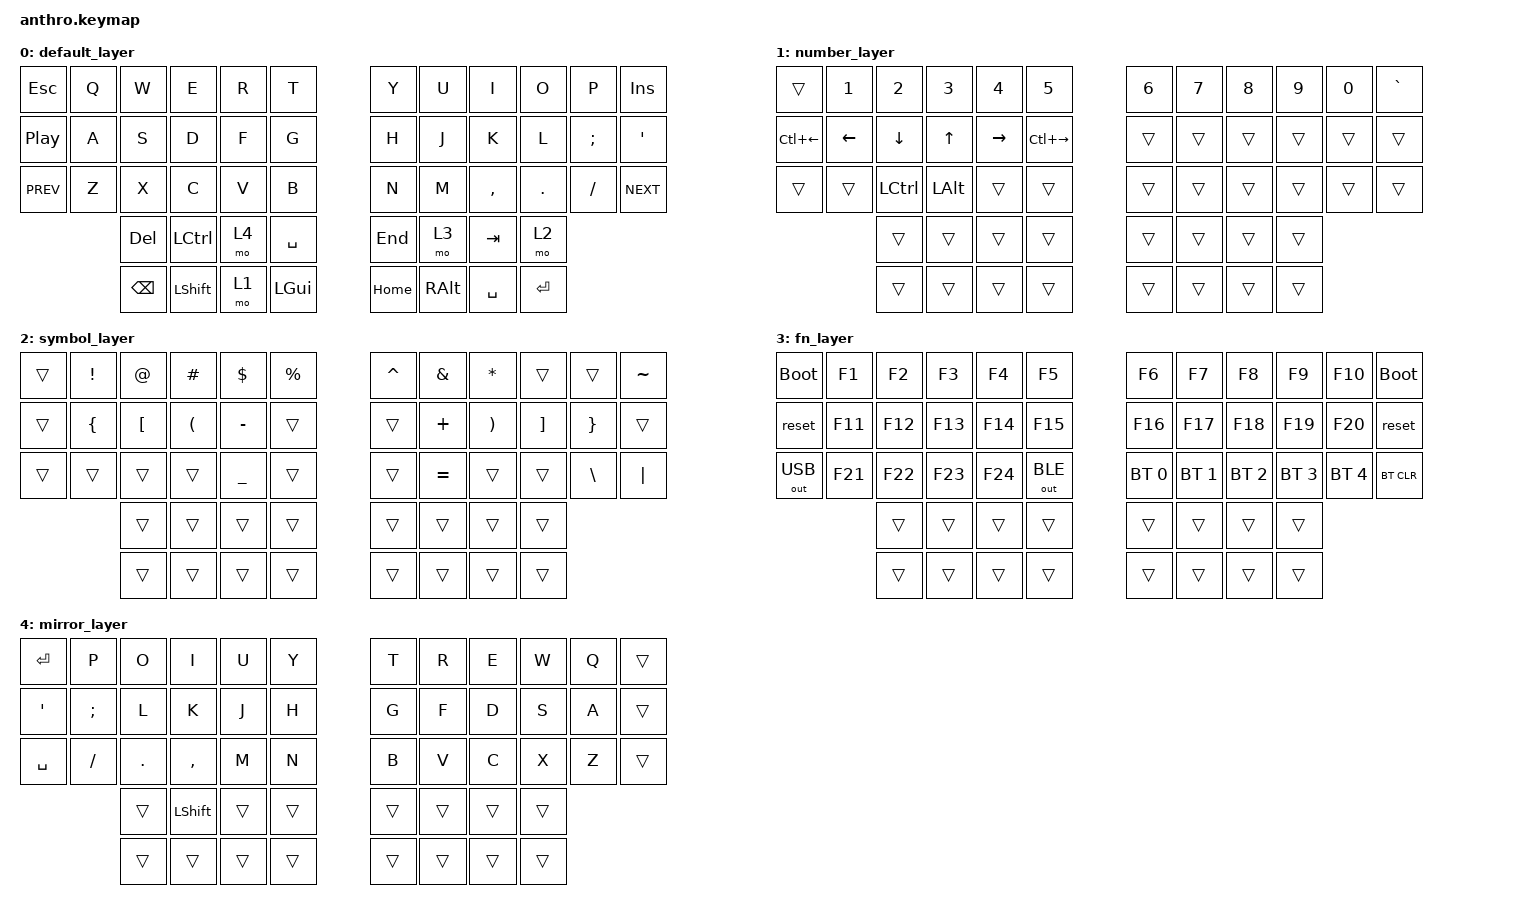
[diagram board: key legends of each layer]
/*
 * Copyright (c) 2020 The ZMK Contributors
 *
 * SPDX-License-Identifier: MIT
 */

#include <behaviors.dtsi>
#include <dt-bindings/zmk/keys.h>
#include <dt-bindings/zmk/bt.h>
#include <dt-bindings/zmk/outputs.h>

#define SEL BT_SEL

/ {
        keymap {
                compatible = "zmk,keymap";

                default_layer { // 0
/* -------------------------------------------------------------         ------------------------------------------------------------- */
/* |   ESC   |    Q    |    W    |    E    |    R    |    T    |         |    Y    |    U    |    I    |    O    |    P    | INSERT  | */
/* |  PAUSE  |    A    |    S    |    D    |    F    |    G    |         |    H    |    J    |    K    |    L    |    ;    |    '    | */
/* |  PREV   |    Z    |    X    |    C    |    V    |    B    |         |    N    |    M    |    ,    |    .    |    /    |  NEXT   | */
                        /* |   DEL   | NUMBERS | MIRROR  |  SPACE  | |   END   |   FN    |   TAB   | SYMBOLS | */
                        /* |  BKSP   |  SHIFT  | CONTROL |   GUI   | |  HOME   |   ALT   |  SPACE  |  ENTER  | */
                        bindings = < 
    &kp ESC   &kp Q     &kp W     &kp E     &kp R     &kp T               &kp Y     &kp U     &kp I     &kp O     &kp P     &kp INS  
    &kp C_PP  &kp A     &kp S     &kp D     &kp F     &kp G               &kp H     &kp J     &kp K     &kp L     &kp SEMI  &kp SQT  
   &kp C_PREV &kp Z     &kp X     &kp C     &kp V     &kp B               &kp N     &kp M     &kp COMMA &kp DOT   &kp FSLH  &kp C_NEXT
                            &kp DEL   &kp LCTRL &mo 4     &kp SPACE   &kp END   &mo 3     &kp TAB   &mo 2    
                            &kp BSPC  &kp LSHFT &mo 1     &kp LGUI    &kp HOME  &kp RALT  &kp SPACE &kp RET  
                        >;
                };

                

                number_layer { // 1
/* -------------------------------------------------------------         ------------------------------------------------------------- */
/* |         |    1    |    2    |    3    |    4    |    5    |         |    6    |    7    |    8    |    9    |    0    |    `    | */
/* | C_LEFT  |  LEFT   |  DOWN   |   UP    |  RIGHT  | C_RIGHT |         |         |         |         |         |         |         | */
/* |         |         |         |         |         |         |         |         |         |         |         |         |         | */
                        /* |         |         |         |         | |         |         |         |         | */
                        /* |         |         |         |         | |         |         |         |         | */
                        bindings = <
    &trans    &kp N1    &kp N2    &kp N3    &kp N4    &kp N5              &kp N6    &kp N7    &kp N8    &kp N9    &kp N0    &kp GRAVE
 &kp LC(LEFT) &kp LEFT  &kp DOWN  &kp UP    &kp RIGHT &kp LC(RIGHT)       &trans    &trans    &trans    &trans    &trans    &trans   
    &trans    &trans    &kp LCTRL &kp LALT  &trans    &trans              &trans    &trans    &trans    &trans    &trans    &trans   
                            &trans    &trans    &trans    &trans      &trans    &trans    &trans    &trans   
                            &trans    &trans    &trans    &trans      &trans    &trans    &trans    &trans   
                        >; 
                };

                symbol_layer { // 2
/* -------------------------------------------------------------         ------------------------------------------------------------- */
/* |         |    !    |    @    |    #    |    $    |    %    |         |    ^    |    &    |    *    |         |         |    ~    | */
/* |         |    {    |    [    |    (    |    -    |         |         |         |    +    |    )    |    ]    |    }    |         | */
/* |         |         |         |         |    _    |         |         |         |    =    |         |         |    \    |   "|"   | */
                        /* |         |         |         |         | |         |         |         |         | */
                        /* |         |         |         |         | |         |         |         |         | */
                        bindings = <
    &trans    &kp EXCL  &kp AT    &kp HASH  &kp DLLR  &kp PRCNT           &kp CARET &kp AMPS  &kp ASTRK &trans    &trans    &kp TILDE
    &trans    &kp LBRC  &kp LBKT  &kp LPAR  &kp MINUS &trans              &trans    &kp PLUS  &kp RPAR  &kp RBKT  &kp RBRC  &trans   
    &trans    &trans    &trans    &trans    &kp UNDER &trans              &trans    &kp EQUAL &trans    &trans    &kp BSLH  &kp PIPE 
                            &trans    &trans    &trans    &trans      &trans    &trans    &trans    &trans   
                            &trans    &trans    &trans    &trans      &trans    &trans    &trans    &trans   
                        >;
                };

                fn_layer { // 3
/* -------------------------------------------------------------         -------------------------------------------------------------- */
/* |BOOTLOAD |   F1    |   F2    |   F3    |   F4    |   F5    |         |   F6    |   F7    |   F8    |   F9    |   F10   |BOOTLOAD | */
/* |  RESET  |   F11   |   F12   |   F13   |   F14   |   F15   |         |   F16   |   F17   |   F18   |   F19   |   F20   |  RESET  | */
/* | OUTPUT  |   F21   |   F22   |   F23   |   F24   |         |         |   BT0   |   BT1   |   BT2   |   BT3   |   BT4   | BT_CLR  | */
                        /* |         |         |         |         | |         |         |         |         | */
                        /* |         |         |         |         | |         |         |         |         | */
                        bindings = <
  &bootloader &kp F1    &kp F2    &kp F3    &kp F4    &kp F5              &kp F6    &kp F7    &kp F8    &kp F9    &kp F10   &bootloader
    &reset    &kp F11   &kp F12   &kp F13   &kp F14   &kp F15             &kp F16   &kp F17   &kp F18   &kp F19   &kp F20   &reset   
 &out OUT_USB &kp F21   &kp F22   &kp F23   &kp F24   &out OUT_BLE        &bt SEL 0 &bt SEL 1 &bt SEL 2 &bt SEL 3 &bt SEL 4 &bt BT_CLR
                            &trans    &trans    &trans    &trans      &trans    &trans    &trans    &trans   
                            &trans    &trans    &trans    &trans      &trans    &trans    &trans    &trans   
                        >;
                };

                mirror_layer { // 4
/* -------------------------------------------------------------         ------------------------------------------------------------- */
/* |  ENTER  |    P    |    O    |    I    |    U    |    Y    |         |    T    |    R    |    E    |    W    |    Q    |         | */
/* |    '    |    ;    |    L    |    K    |    J    |    H    |         |    G    |    F    |    D    |    S    |    A    |         | */
/* |  SPACE  |    /    |    .    |    ,    |    M    |    N    |         |    B    |    V    |    C    |    X    |    Z    |         | */
                        /* |         |         |         |         | |         |         |         |         | */
                        /* |         |         |         |         | |         |         |         |         | */
                        bindings = < 
    &kp RET   &kp P     &kp O     &kp I     &kp U     &kp Y               &kp T     &kp R     &kp E     &kp W     &kp Q     &trans   
    &kp SQT   &kp SEMI  &kp L     &kp K     &kp J     &kp H               &kp G     &kp F     &kp D     &kp S     &kp A     &trans   
    &kp SPACE &kp FSLH  &kp DOT   &kp COMMA &kp M     &kp N               &kp B     &kp V     &kp C     &kp X     &kp Z     &trans   
                            &trans    &kp LSHFT &trans    &trans      &trans    &trans    &trans    &trans   
                            &trans    &trans    &trans    &trans      &trans    &trans    &trans    &trans   
                        >;
                };
        };
};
